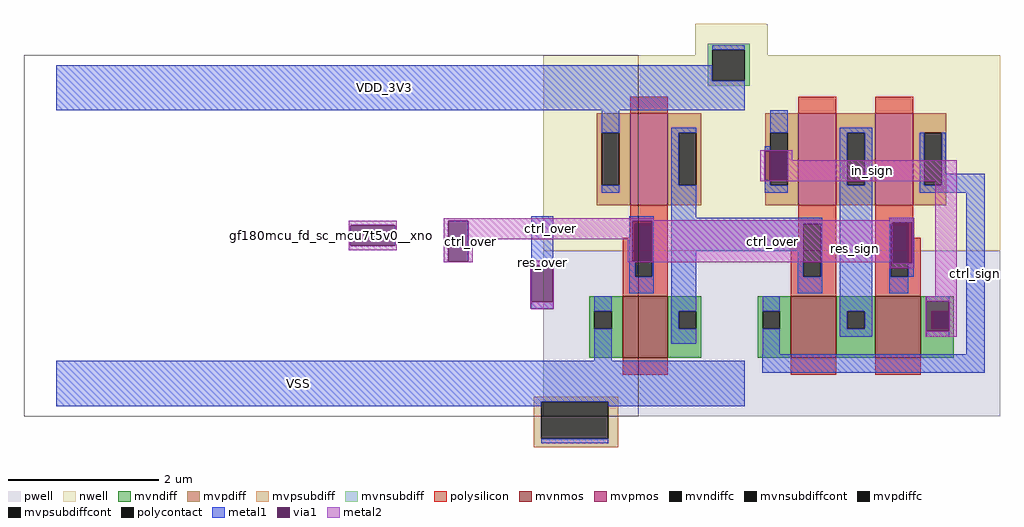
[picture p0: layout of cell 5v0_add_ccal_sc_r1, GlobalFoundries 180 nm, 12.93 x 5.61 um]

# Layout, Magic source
magic
tech gf180mcuD
magscale 1 10
<< nwell >>
rect -188 840 0 841
rect -188 758 4 840
rect -590 240 620 758
<< pwell >>
rect -590 -198 620 240
<< mvnmos >>
rect -380 -44 -260 120
rect 66 -44 186 120
rect 290 -44 410 120
<< mvpmos >>
rect -360 360 -260 604
rect 86 360 186 604
rect 290 360 390 604
<< mvndiff >>
rect -468 80 -380 120
rect -468 34 -455 80
rect -409 34 -380 80
rect -468 -44 -380 34
rect -260 80 -172 120
rect -260 34 -231 80
rect -185 34 -172 80
rect -260 -44 -172 34
rect -22 80 66 120
rect -22 34 -9 80
rect 37 34 66 80
rect -22 -44 66 34
rect 186 80 290 120
rect 186 34 215 80
rect 261 34 290 80
rect 186 -44 290 34
rect 410 80 498 120
rect 410 34 439 80
rect 485 34 498 80
rect 410 -44 498 34
<< mvpdiff >>
rect -448 553 -360 604
rect -448 413 -435 553
rect -389 413 -360 553
rect -448 360 -360 413
rect -260 553 -172 604
rect -260 413 -231 553
rect -185 413 -172 553
rect -260 360 -172 413
rect -2 553 86 604
rect -2 413 11 553
rect 57 413 86 553
rect -2 360 86 413
rect 186 553 290 604
rect 186 413 215 553
rect 261 413 290 553
rect 186 360 290 413
rect 390 553 478 604
rect 390 413 419 553
rect 465 413 478 553
rect 390 360 478 413
<< mvndiffc >>
rect -455 34 -409 80
rect -231 34 -185 80
rect -9 34 37 80
rect 215 34 261 80
rect 439 34 485 80
<< mvpdiffc >>
rect -435 413 -389 553
rect -231 413 -185 553
rect 11 413 57 553
rect 215 413 261 553
rect 419 413 465 553
<< mvpsubdiff >>
rect -616 -160 -392 -147
rect -616 -258 -596 -160
rect -418 -258 -392 -160
rect -616 -280 -392 -258
<< mvnsubdiff >>
rect -155 773 -43 789
rect -155 691 -142 773
rect -56 691 -43 773
rect -155 677 -43 691
<< mvpsubdiffcont >>
rect -596 -258 -418 -160
<< mvnsubdiffcont >>
rect -142 691 -56 773
<< polysilicon >>
rect -360 604 -260 648
rect 86 604 186 648
rect 290 604 390 648
rect -360 311 -260 360
rect -360 274 -347 311
rect -380 171 -347 274
rect -301 171 -260 311
rect 86 311 186 360
rect 86 274 99 311
rect -380 120 -260 171
rect 66 171 99 274
rect 145 171 186 311
rect 66 120 186 171
rect 290 311 390 360
rect 290 171 331 311
rect 377 274 390 311
rect 377 171 410 274
rect 290 120 410 171
rect -380 -88 -260 -44
rect 66 -88 186 -44
rect 290 -88 410 -44
<< polycontact >>
rect -347 171 -301 311
rect 99 171 145 311
rect 331 171 377 311
<< metal1 >>
rect -142 773 -56 784
rect -1880 691 -142 732
rect -1880 612 -56 691
rect -435 553 -389 612
rect -435 394 -389 413
rect -251 553 -185 566
rect -251 413 -231 553
rect 11 553 57 612
rect -622 202 -564 331
rect -362 319 -297 331
rect -362 211 -354 319
rect -362 171 -347 211
rect -301 171 -297 319
rect -362 128 -297 171
rect -251 328 -185 413
rect -3 505 11 517
rect -3 413 11 426
rect -3 394 57 413
rect 195 553 281 566
rect 195 413 215 553
rect 261 413 281 553
rect -251 311 149 328
rect -251 240 99 311
rect -622 86 -564 105
rect -455 80 -409 120
rect -455 -52 -409 34
rect -251 80 -185 240
rect 84 171 99 240
rect 145 171 149 311
rect 84 128 149 171
rect -251 34 -231 80
rect -251 -6 -185 34
rect -9 80 37 120
rect -9 -34 37 34
rect 195 80 281 413
rect 408 413 419 553
rect 465 444 476 553
rect 465 413 579 444
rect 408 394 579 413
rect 327 315 392 328
rect 327 311 334 315
rect 327 171 331 311
rect 387 207 392 315
rect 377 171 392 207
rect 327 128 377 171
rect 195 34 215 80
rect 261 34 281 80
rect 195 12 281 34
rect 425 106 485 120
rect 425 12 485 27
rect 531 -34 579 394
rect -1880 -160 -56 -52
rect -10 -83 579 -34
rect -1880 -172 -596 -160
rect -418 -172 -56 -160
rect -596 -270 -418 -258
<< via1 >>
rect -1102 253 -982 307
rect -842 211 -789 319
rect -622 105 -564 202
rect -354 311 -301 319
rect -354 211 -347 311
rect -347 211 -301 311
rect -3 426 11 505
rect 11 426 57 505
rect 334 311 387 315
rect 334 207 377 311
rect 377 207 387 311
rect 425 80 485 106
rect 425 34 439 80
rect 439 34 485 80
rect 425 27 485 34
<< metal2 >>
rect -15 505 69 507
rect -15 426 -3 505
rect 57 480 69 505
rect 57 426 505 480
rect -15 424 505 426
rect -854 321 -297 326
rect 326 321 393 328
rect -1105 307 -979 320
rect -1105 253 -1102 307
rect -982 253 -979 307
rect -1105 241 -979 253
rect -854 319 393 321
rect -854 211 -842 319
rect -789 270 -354 319
rect -789 211 -777 270
rect -854 209 -777 211
rect -624 202 -562 214
rect -366 211 -354 270
rect -301 315 393 319
rect -301 211 334 315
rect -366 209 334 211
rect -624 105 -622 202
rect -564 105 -562 202
rect 326 207 334 209
rect 387 207 393 315
rect 326 194 393 207
rect 449 120 505 424
rect -624 86 -562 105
rect 423 106 505 120
rect -622 85 -564 86
rect 423 27 425 106
rect 485 27 505 106
rect 423 12 505 27
use gf180mcu_fd_sc_mcu7t5v0__xnor2_1  gf180mcu_fd_sc_mcu7t5v0__xnor2_1_0 ~/pdk/gf180mcuD/libs.ref/gf180mcu_fd_sc_mcu7t5v0/mag
transform 1 0 -1880 0 1 -112
box -86 -86 1542 870
<< labels >>
rlabel metal2 -789 209 -779 321 1 ctrl_over
rlabel metal2 -301 209 334 321 1 ctrl_over
port 1 n signal bidirectional
rlabel via1 -1102 253 -982 307 1 in_over
port 6 n signal bidirectional
rlabel metal2 -789 270 -354 326 1 ctrl_over
port 1 n signal bidirectional
rlabel metal1 531 -83 579 444 1 ctrl_sign
port 2 n signal bidirectional
rlabel metal2 57 424 505 480 1 in_sign
port 4 n signal bidirectional
rlabel metal1 195 80 281 413 1 res_sign
port 3 n signal bidirectional
rlabel metal1 -622 86 -564 331 1 res_over
port 5 n signal bidirectional
rlabel metal1 -1880 612 -142 732 1 VDD_3V3
port 7 n power bidirectional
rlabel metal1 -1880 -172 -596 -52 1 VSS
port 8 n ground bidirectional
<< end >>
